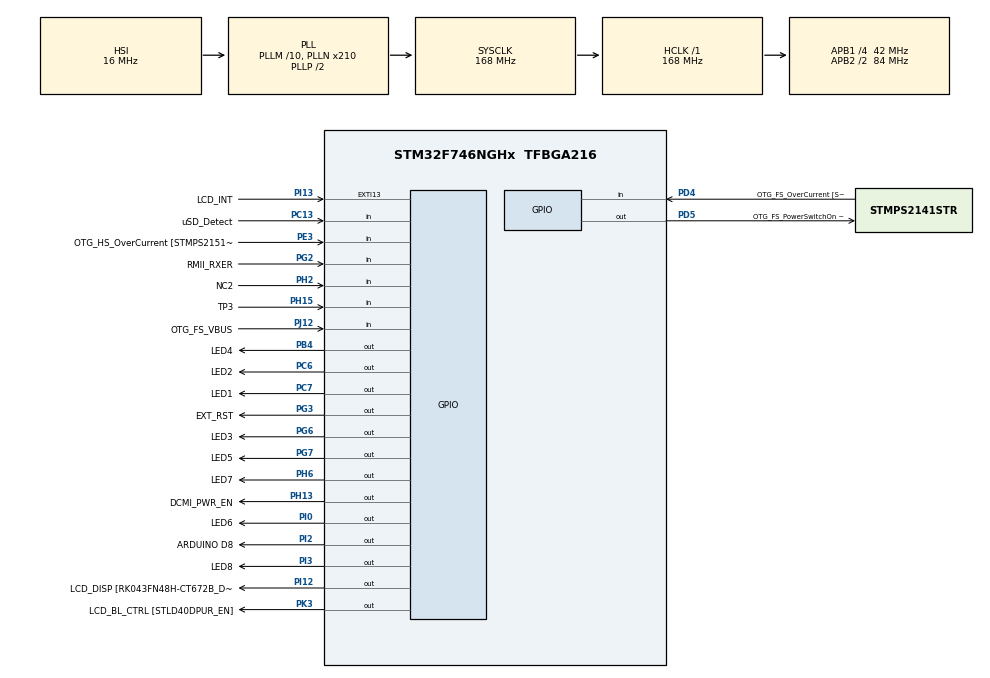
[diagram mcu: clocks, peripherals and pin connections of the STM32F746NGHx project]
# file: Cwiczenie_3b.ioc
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Mcu.Family=STM32F7
Mcu.Name=STM32F746NGHx
Mcu.Package=TFBGA216
NVIC.PriorityGroup=NVIC_PRIORITYGROUP_4
PA0/WKUP.GPIO_Label=ARDUINO A0
PA0/WKUP.GPIO_Mode=GPIO_MODE_ANALOG
PA0/WKUP.GPIO_PuPd=GPIO_NOPULL
PA0/WKUP.Signal=ADCx_IN0
PA1.GPIO_Label=RMII_REF_CLK [LAN8742A-CZ-TR_REFCLK0]
PA1.Signal=ETH_REF_CLK
PA10.GPIO_Label=OTG_FS_ID
PA10.Signal=USB_OTG_FS_ID
PA11.GPIO_Label=OTG_FS_N
PA11.Signal=USB_OTG_FS_DM
PA12.GPIO_Label=OTG_FS_P
PA12.Signal=USB_OTG_FS_DP
PA13.GPIO_Label=SWDIO
PA13.Signal=SYS_JTMS-SWDIO
PA14.GPIO_Label=SWCLK
PA14.Signal=SYS_JTCK-SWCLK
PA15.GPIO_Label=ARDUINO PWM/D9
PA15.GPIO_ModeDefaultPP=GPIO_MODE_AF_PP
PA15.GPIO_PuPd=GPIO_NOPULL
PA15.GPIO_Speed=GPIO_SPEED_FREQ_LOW
PA15.Signal=S_TIM2_CH1_ETR
PA2.GPIO_Label=RMII_MDIO [LAN8742A-CZ-TR_MDIO]
PA2.Signal=ETH_MDIO
PA3.GPIO_Label=ULPI_D0 [USB3320C-EZK_D0]
PA3.Signal=USB_OTG_HS_ULPI_D0
PA4.GPIO_Label=DCMI_HSYNC
PA4.Signal=DCMI_HSYNC
PA5.GPIO_Label=ULPI_CLK [USB3320C-EZK_CLKOUT]
PA5.Signal=USB_OTG_HS_ULPI_CK
PA6.Signal=DCMI_PIXCLK
PA7.GPIO_Label=RMII_CRS_DV [LAN8742A-CZ-TR_CRS_DV]
PA7.Signal=ETH_CRS_DV
PA8.GPIO_Label=ARDUINO PWM/D10
PA8.GPIO_ModeDefaultPP=GPIO_MODE_AF_PP
PA8.GPIO_PuPd=GPIO_NOPULL
PA8.GPIO_Speed=GPIO_SPEED_FREQ_LOW
PA8.Signal=S_TIM1_CH1
PA9.GPIO_Label=VCP_TX [STM32F103CBT6_PA3]
PA9.GPIO_Mode=GPIO_MODE_AF_PP
PA9.GPIO_PuPd=GPIO_NOPULL
PA9.GPIO_Speed=GPIO_SPEED_FREQ_LOW
PA9.Signal=USART1_TX
PB0.GPIO_Label=ULPI_D1 [USB3320C-EZK_D1]
PB0.Signal=USB_OTG_HS_ULPI_D1
PB1.GPIO_Label=ULPI_D2 [USB3320C-EZK_D2]
PB1.Signal=USB_OTG_HS_ULPI_D2
PB10.GPIO_Label=ULPI_D3 [USB3320C-EZK_D3]
PB10.Signal=USB_OTG_HS_ULPI_D3
PB11.GPIO_Label=ULPI_D4 [USB3320C-EZK_D4]
PB11.Signal=USB_OTG_HS_ULPI_D4
PB12.GPIO_Label=ULPI_D5 [USB3320C-EZK_D5]
PB12.Signal=USB_OTG_HS_ULPI_D5
PB13.GPIO_Label=ULPI_D6 [USB3320C-EZK_D6]
PB13.Signal=USB_OTG_HS_ULPI_D6
PB14.GPIO_Label=ARDUINO MISO/D12
PB14.GPIO_Mode=GPIO_MODE_AF_PP
PB14.GPIO_PuPd=GPIO_NOPULL
PB14.GPIO_Speed=GPIO_SPEED_FREQ_LOW
PB14.Signal=SPI2_MISO
PB15.GPIO_Label=ARDUINO MOSI/PWM/D11
PB15.GPIO_Mode=GPIO_MODE_AF_PP
PB15.GPIO_PuPd=GPIO_NOPULL
PB15.GPIO_Speed=GPIO_SPEED_FREQ_LOW
PB15.Signal=SPI2_MOSI
PB2.Signal=QUADSPI_CLK
PB3.GPIO_Label=SWO
PB3.Signal=SYS_JTDO-SWO
PB4.GPIO_Label=LED4
PB4.Signal=GPIO_Output
PB5.GPIO_Label=ULPI_D7 [USB3320C-EZK_D7]
PB5.Signal=USB_OTG_HS_ULPI_D7
PB6.GPIO_Label=QSPI_NCS [N25Q128A13EF840E_S]
PB6.Signal=QUADSPI_BK1_NCS
PB7.GPIO_Label=VCP_RX [STM32F103CBT6_PA2]
PB7.GPIO_Mode=GPIO_MODE_AF_PP
PB7.GPIO_PuPd=GPIO_NOPULL
PB7.GPIO_Speed=GPIO_SPEED_FREQ_LOW
PB7.Signal=USART1_RX
PB8.GPIO_Label=ARDUINO SCL/D15
PB8.GPIO_Mode=GPIO_MODE_AF_OD
PB8.GPIO_PuPd=GPIO_NOPULL
PB8.GPIO_Speed=GPIO_SPEED_FREQ_LOW
PB8.Signal=I2C1_SCL
PB9.GPIO_Label=ARDUINO SDA/D14
PB9.GPIO_Mode=GPIO_MODE_AF_OD
PB9.GPIO_PuPd=GPIO_NOPULL
PB9.GPIO_Speed=GPIO_SPEED_FREQ_LOW
PB9.Signal=I2C1_SDA
PC0.GPIO_Label=ULPI_STP [USB3320C-EZK_STP]
PC0.Signal=USB_OTG_HS_ULPI_STP
PC1.GPIO_Label=RMII_MDC [LAN8742A-CZ-TR_MDC]
PC1.Signal=ETH_MDC
PC10.GPIO_Label=SDMMC_D2
PC10.Signal=SDMMC1_D2
PC11.GPIO_Label=SDMMC_D3
PC11.Signal=SDMMC1_D3
PC12.GPIO_Label=SDMMC_CK
PC12.Signal=SDMMC1_CK
PC13.GPIO_Label=uSD_Detect
PC13.Signal=GPIO_Input
PC14/OSC32_IN.GPIO_Label=RCC_OSC32_IN
PC14/OSC32_IN.Signal=RCC_OSC32_IN
PC15/OSC32_OUT.GPIO_Label=RCC_OSC32_OUT
PC15/OSC32_OUT.Signal=RCC_OSC32_OUT
PC2.GPIO_Label=ULPI_DIR [USB3320C-EZK_DIR]
PC2.Signal=USB_OTG_HS_ULPI_DIR
PC3.GPIO_Label=FMC_SDCKE0 [MT48LC4M32B2B5-6A_CKE]
PC3.Signal=FMC_SDCKE0
PC4.GPIO_Label=RMII_RXD0 [LAN8742A-CZ-TR_RXD0]
PC4.Signal=ETH_RXD0
PC5.GPIO_Label=RMII_RXD1 [LAN8742A-CZ-TR_RXD1]
PC5.Signal=ETH_RXD1
PC6.GPIO_Label=LED2
PC6.Signal=GPIO_Output
PC7.GPIO_Label=LED1
PC7.Signal=GPIO_Output
PC8.Signal=SDMMC1_D0
PC9.Signal=SDMMC1_D1
PD0.GPIO_Label=FMC_D2 [MT48LC4M32B2B5-6A_DQ2]
PD0.Signal=FMC_D2_DA2
PD1.GPIO_Label=FMC_D3 [MT48LC4M32B2B5-6A_DQ3]
PD1.Signal=FMC_D3_DA3
PD10.GPIO_Label=FMC_D15 [MT48LC4M32B2B5-6A_DQ15]
PD10.Signal=FMC_D15_DA15
PD11.GPIO_Label=QSPI_D0 [N25Q128A13EF840E_DQ0]
PD11.Signal=QUADSPI_BK1_IO0
PD12.GPIO_Label=QSPI_D1 [N25Q128A13EF840E_DQ1]
PD12.Signal=QUADSPI_BK1_IO1
PD13.GPIO_Label=QSPI_D3 [N25Q128A13EF840E_DQ3]
PD13.Signal=QUADSPI_BK1_IO3
PD14.GPIO_Label=FMC_D0 [MT48LC4M32B2B5-6A_DQ0]
PD14.Signal=FMC_D0_DA0
PD15.GPIO_Label=FMC_D1 [MT48LC4M32B2B5-6A_DQ1]
PD15.Signal=FMC_D1_DA1
PD2.GPIO_Label=SDMMC_D0
PD2.Signal=SDMMC1_CMD
PD3.GPIO_Label=DCMI_D5
PD3.Signal=DCMI_D5
PD4.GPIO_Label=OTG_FS_OverCurrent [STMPS2141STR_Fault]
PD4.Signal=GPIO_Input
PD5.GPIO_Label=OTG_FS_PowerSwitchOn [STMPS2141STR_EN]
PD5.PinState=GPIO_PIN_SET
PD5.Signal=GPIO_Output
PD7.GPIO_Label=SPDIF_RX0 [74LVC1G04SE_4]
PD7.Signal=SPDIFRX_IN0
PD8.GPIO_Label=FMC_D13 [MT48LC4M32B2B5-6A_DQ13]
PD8.Signal=FMC_D13_DA13
PD9.GPIO_Label=FMC_D14 [MT48LC4M32B2B5-6A_DQ14]
PD9.Signal=FMC_D14_DA14
PE0.GPIO_Label=FMC_NBL0 [MT48LC4M32B2B5-6A_DQM0]
PE0.Signal=FMC_NBL0
PE1.GPIO_Label=FMC_NBL1 [MT48LC4M32B2B5-6A_DQM1]
PE1.Signal=FMC_NBL1
PE10.GPIO_Label=FMC_D7 [MT48LC4M32B2B5-6A_DQ7]
PE10.Signal=FMC_D7_DA7
PE11.GPIO_Label=FMC_D8 [MT48LC4M32B2B5-6A_DQ8]
PE11.Signal=FMC_D8_DA8
PE12.GPIO_Label=FMC_D9 [MT48LC4M32B2B5-6A_DQ9]
PE12.Signal=FMC_D9_DA9
PE13.GPIO_Label=FMC_D10 [MT48LC4M32B2B5-6A_DQ10]
PE13.Signal=FMC_D10_DA10
PE14.GPIO_Label=FMC_D11 [MT48LC4M32B2B5-6A_DQ11]
PE14.Signal=FMC_D11_DA11
PE15.GPIO_Label=FMC_D12 [MT48LC4M32B2B5-6A_DQ12]
PE15.Signal=FMC_D12_DA12
PE2.GPIO_Label=QSPI_D2 [N25Q128A13EF840E_DQ2]
PE2.Signal=QUADSPI_BK1_IO2
PE3.GPIO_Label=OTG_HS_OverCurrent [STMPS2151STR_FAULT]
PE3.Signal=GPIO_Input
PE4.GPIO_Label=LCD_B0 [RK043FN48H-CT672B_B0]
PE4.Signal=LTDC_B0
PE5.GPIO_Label=DCMI_D6
PE5.Signal=DCMI_D6
PE6.GPIO_Label=DCMI_D7
PE6.Signal=DCMI_D7
PE7.GPIO_Label=FMC_D4 [MT48LC4M32B2B5-6A_DQ4]
PE7.Signal=FMC_D4_DA4
PE8.GPIO_Label=FMC_D5 [MT48LC4M32B2B5-6A_DQ5]
PE8.Signal=FMC_D5_DA5
PE9.GPIO_Label=FMC_D6 [MT48LC4M32B2B5-6A_DQ6]
PE9.Signal=FMC_D6_DA6
PF0.GPIO_Label=FMC_A0 [MT48LC4M32B2B5-6A_A0]
PF0.Signal=FMC_A0
PF1.GPIO_Label=FMC_A1 [MT48LC4M32B2B5-6A_A1]
PF1.Signal=FMC_A1
PF10.GPIO_Label=ARDUINO A1
PF10.GPIO_Mode=GPIO_MODE_ANALOG
PF10.GPIO_PuPd=GPIO_NOPULL
PF10.Signal=ADC3_IN8
PF11.GPIO_Label=FMC_SDNRAS [MT48LC4M32B2B5-6A_RAS]
PF11.Signal=FMC_SDNRAS
PF12.GPIO_Label=FMC_A6 [MT48LC4M32B2B5-6A_A6]
PF12.Signal=FMC_A6
PF13.GPIO_Label=FMC_A7 [MT48LC4M32B2B5-6A_A7]
PF13.Signal=FMC_A7
PF14.GPIO_Label=FMC_A8 [MT48LC4M32B2B5-6A_A8]
PF14.Signal=FMC_A8
PF15.GPIO_Label=FMC_A9 [MT48LC4M32B2B5-6A_A9]
PF15.Signal=FMC_A9
PF2.GPIO_Label=FMC_A2 [MT48LC4M32B2B5-6A_A2]
PF2.Signal=FMC_A2
PF3.GPIO_Label=FMC_A3 [MT48LC4M32B2B5-6A_A3]
PF3.Signal=FMC_A3
PF4.GPIO_Label=FMC_A4 [MT48LC4M32B2B5-6A_A4]
PF4.Signal=FMC_A4
PF5.GPIO_Label=FMC_A5 [MT48LC4M32B2B5-6A_A5]
PF5.Signal=FMC_A5
PF6.GPIO_Label=ARDUINO A5
PF6.GPIO_Mode=GPIO_MODE_ANALOG
PF6.GPIO_PuPd=GPIO_NOPULL
PF6.Signal=ADC3_IN4
PF7.GPIO_Label=ARDUINO A4
PF7.GPIO_Mode=GPIO_MODE_ANALOG
PF7.GPIO_PuPd=GPIO_NOPULL
PF7.Signal=ADC3_IN5
PF8.GPIO_Label=ARDUINO A3
PF8.GPIO_Mode=GPIO_MODE_ANALOG
PF8.GPIO_PuPd=GPIO_NOPULL
PF8.Signal=ADC3_IN6
PF9.GPIO_Label=ARDUINO A2
PF9.GPIO_Mode=GPIO_MODE_ANALOG
PF9.GPIO_PuPd=GPIO_NOPULL
PF9.Signal=ADC3_IN7
PG0.GPIO_Label=FMC_A10 [MT48LC4M32B2B5-6A_A10]
PG0.Signal=FMC_A10
PG1.GPIO_Label=FMC_A11 [MT48LC4M32B2B5-6A_A11]
PG1.Signal=FMC_A11
PG10.GPIO_Label=SAI2_SDB [WM8994ECS/R_ADCDAT1]
PG10.Signal=SAI2_SD_B
PG11.GPIO_Label=RMII_TX_EN [LAN8742A-CZ-TR_TXEN]
PG11.Signal=ETH_TX_EN
PG12.GPIO_Label=LCD_B4 [RK043FN48H-CT672B_B4]
PG12.Signal=LTDC_B4
PG13.GPIO_Label=RMII_TXD0 [LAN8742A-CZ-TR_TXD0]
PG13.Signal=ETH_TXD0
PG14.GPIO_Label=RMII_TXD1 [LAN8742A-CZ-TR_TXD1]
PG14.Signal=ETH_TXD1
PG15.GPIO_Label=FMC_SDNCAS [MT48LC4M32B2B5-6A_CAS]
PG15.Signal=FMC_SDNCAS
PG2.GPIO_Label=RMII_RXER
PG2.Signal=GPIO_Input
PG3.GPIO_Label=EXT_RST
PG3.Signal=GPIO_Output
PG4.GPIO_Label=FMC_BA0 [MT48LC4M32B2B5-6A_BA0]
PG4.Signal=FMC_A14_BA0
PG5.GPIO_Label=FMC_BA1 [MT48LC4M32B2B5-6A_BA1]
PG5.Signal=FMC_A15_BA1
PG6.GPIO_Label=LED3
PG6.Signal=GPIO_Output
PG7.GPIO_Label=LED5
PG7.Signal=GPIO_Output
PG8.GPIO_Label=FMC_SDCLK [MT48LC4M32B2B5-6A_CLK]
PG8.Signal=FMC_SDCLK
PG9.GPIO_Label=DCMI_VSYNC
PG9.Signal=DCMI_VSYNC
PH0/OSC_IN.GPIO_Label=OSC_25M [NZ2520SB-25.00M_OUT]
PH0/OSC_IN.Signal=RCC_OSC_IN
PH1/OSC_OUT.Signal=RCC_OSC_OUT
PH10.GPIO_Label=DCMI_D1
PH10.Signal=DCMI_D1
PH11.GPIO_Label=DCMI_D2
PH11.Signal=DCMI_D2
PH12.GPIO_Label=DCMI_D3
PH12.Signal=DCMI_D3
PH13.GPIO_Label=DCMI_PWR_EN
PH13.Signal=GPIO_Output
PH14.GPIO_Label=DCMI_D4
PH14.Signal=DCMI_D4
PH15.GPIO_Label=TP3
PH15.Signal=GPIO_Input
PH2.GPIO_Label=NC2
PH2.Signal=GPIO_Input
PH3.GPIO_Label=FMC_SDNE0 [MT48LC4M32B2B5-6A_CS]
PH3.Signal=FMC_SDNE0
PH4.GPIO_Label=ULPI_NXT [USB3320C-EZK_NXT]
PH4.Signal=USB_OTG_HS_ULPI_NXT
PH5.GPIO_Label=FMC_SDNME [MT48LC4M32B2B5-6A_WE]
PH5.Signal=FMC_SDNWE
PH6.GPIO_Label=LED7
PH6.Signal=GPIO_Output
PH7.GPIO_Label=LCD_SCL [RK043FN48H-CT672B_SCL]
PH7.Signal=I2C3_SCL
PH8.GPIO_Label=LCD_SDA [RK043FN48H-CT672B_SDA]
PH8.Signal=I2C3_SDA
PH9.GPIO_Label=DCMI_D0
PH9.Signal=DCMI_D0
PI0.GPIO_Label=LED6
PI0.Signal=GPIO_Output
PI1.GPIO_Label=ARDUINO SCK/D13
PI1.GPIO_Mode=GPIO_MODE_AF_PP
PI1.GPIO_PuPd=GPIO_NOPULL
PI1.GPIO_Speed=GPIO_SPEED_FREQ_LOW
PI1.Signal=SPI2_SCK
PI10.GPIO_Label=LCD_HSYNC [RK043FN48H-CT672B_HSYNC]
PI10.Signal=LTDC_HSYNC
PI12.GPIO_Label=LCD_DISP [RK043FN48H-CT672B_DISP] 
PI12.Signal=GPIO_Output
PI13.GPIO_Label=LCD_INT
PI13.GPIO_ModeDefaultEXTI=GPIO_MODE_EVT_RISING
PI13.Signal=GPXTI13
PI14.GPIO_Label=LCD_CLK [RK043FN48H-CT672B_CLK]
PI14.Signal=LTDC_CLK
PI15.GPIO_Label=LCD_R0 [RK043FN48H-CT672B_R0]
PI15.Signal=LTDC_R0
PI2.GPIO_Label=ARDUINO D8
PI2.Signal=GPIO_Output
PI3.GPIO_Label=LED8
PI3.Signal=GPIO_Output
PI4.GPIO_Label=SAI2_MCLKA [WM8994ECS/R_MCLK1]
PI4.Signal=SAI2_MCLK_A
PI5.GPIO_Label=SAI2_SCKA [WM8994ECS/R_BCLK1]
PI5.Signal=SAI2_SCK_A
PI6.GPIO_Label=SAI2_SDA [WM8994ECS/R_DACDAT1]
PI6.Signal=SAI2_SD_A
PI7.GPIO_Label=SAI2_FSA [WM8994ECS/R_LRCLK1]
PI7.Signal=SAI2_FS_A
PI8.GPIO_Label=NC1 [TP2]
PI8.Signal=RTC_TS
PI9.GPIO_Label=LCD_VSYNC [RK043FN48H-CT672B_VSYNC]
PI9.Signal=LTDC_VSYNC
PJ0.GPIO_Label=LCD_R1 [RK043FN48H-CT672B_R1]
PJ0.Signal=LTDC_R1
PJ1.GPIO_Label=LCD_R2 [RK043FN48H-CT672B_R2]
PJ1.Signal=LTDC_R2
PJ10.GPIO_Label=LCD_G3 [RK043FN48H-CT672B_G3]
PJ10.Signal=LTDC_G3
PJ11.GPIO_Label=LCD_G4 [RK043FN48H-CT672B_G4]
PJ11.Signal=LTDC_G4
PJ12.GPIO_Label=OTG_FS_VBUS
PJ12.Signal=GPIO_Input
PJ13.GPIO_Label=LCD_B1 [RK043FN48H-CT672B_B1]
PJ13.Signal=LTDC_B1
PJ14.GPIO_Label=LCD_B2 [RK043FN48H-CT672B_B2]
PJ14.Signal=LTDC_B2
PJ15.GPIO_Label=LCD_B3 [RK043FN48H-CT672B_B3]
PJ15.Signal=LTDC_B3
PJ2.GPIO_Label=LCD_R3 [RK043FN48H-CT672B_R3]
PJ2.Signal=LTDC_R3
PJ3.GPIO_Label=LCD_R4 [RK043FN48H-CT672B_R4]
PJ3.Signal=LTDC_R4
PJ4.GPIO_Label=LCD_R5 [RK043FN48H-CT672B_R5]
PJ4.Signal=LTDC_R5
PJ5.GPIO_Label=LCD_R6 [RK043FN48H-CT672B_R6]
PJ5.Signal=LTDC_R6
PJ6.GPIO_Label=LCD_R7 [RK043FN48H-CT672B_R7]
PJ6.Signal=LTDC_R7
PJ7.GPIO_Label=LCD_G0 [RK043FN48H-CT672B_G0]
PJ7.Signal=LTDC_G0
PJ8.GPIO_Label=LCD_G1 [RK043FN48H-CT672B_G1]
PJ8.Signal=LTDC_G1
PJ9.GPIO_Label=LCD_G2 [RK043FN48H-CT672B_G2]
PJ9.Signal=LTDC_G2
PK0.GPIO_Label=LCD_G5 [RK043FN48H-CT672B_G5]
PK0.Signal=LTDC_G5
PK1.GPIO_Label=LCD_G6 [RK043FN48H-CT672B_G6]
PK1.Signal=LTDC_G6
PK2.GPIO_Label=LCD_G7 [RK043FN48H-CT672B_G7]
PK2.Signal=LTDC_G7
PK3.GPIO_Label=LCD_BL_CTRL [STLD40DPUR_EN]
PK3.Signal=GPIO_Output
PK4.GPIO_Label=LCD_B5 [RK043FN48H-CT672B_B5]
PK4.Signal=LTDC_B5
PK5.GPIO_Label=LCD_B6 [RK043FN48H-CT672B_B6]
PK5.Signal=LTDC_B6
PK6.GPIO_Label=LCD_B7 [RK043FN48H-CT672B_B7]
PK6.Signal=LTDC_B7
PK7.GPIO_Label=LCD_DE [RK043FN48H-CT672B_DE]
PK7.Signal=LTDC_DE
ProjectManager.HeapSize=0x200
ProjectManager.StackSize=0x400
ProjectManager.TargetToolchain=STM32CubeIDE
RCC.AHBFreq_Value=168000000
RCC.APB1CLKDivider=RCC_HCLK_DIV4
RCC.APB1Freq_Value=42000000
RCC.APB1TimFreq_Value=84000000
RCC.APB2CLKDivider=RCC_HCLK_DIV2
RCC.APB2Freq_Value=84000000
RCC.APB2TimFreq_Value=168000000
RCC.CortexFreq_Value=168000000
RCC.HCLKFreq_Value=168000000
RCC.HSE_VALUE=25000000
RCC.HSI_VALUE=16000000
RCC.LSE_VALUE=32768
RCC.PLLM=10
RCC.PLLN=210
RCC.PLLSourceVirtual=RCC_PLLSOURCE_HSI
RCC.SYSCLKFreq_VALUE=168000000
RCC.SYSCLKSource=RCC_SYSCLKSOURCE_PLLCLK
RCC.USBFreq_Value=168000000
RCC.VCOOutputFreq_Value=336000000
SH.ADCx_IN0.0=ADC3_IN0
SH.FMC_A0.0=FMC_A0
SH.FMC_A1.0=FMC_A1
SH.FMC_A10.0=FMC_A10
SH.FMC_A11.0=FMC_A11
SH.FMC_A14_BA0.0=FMC_BA0
SH.FMC_A15_BA1.0=FMC_BA1
SH.FMC_A2.0=FMC_A2
SH.FMC_A3.0=FMC_A3
SH.FMC_A4.0=FMC_A4
SH.FMC_A5.0=FMC_A5
SH.FMC_A6.0=FMC_A6
SH.FMC_A7.0=FMC_A7
SH.FMC_A8.0=FMC_A8
SH.FMC_A9.0=FMC_A9
SH.FMC_D0_DA0.0=FMC_D0
SH.FMC_D10_DA10.0=FMC_D10
SH.FMC_D11_DA11.0=FMC_D11
SH.FMC_D12_DA12.0=FMC_D12
SH.FMC_D13_DA13.0=FMC_D13
SH.FMC_D14_DA14.0=FMC_D14
SH.FMC_D15_DA15.0=FMC_D15
SH.FMC_D1_DA1.0=FMC_D1
SH.FMC_D2_DA2.0=FMC_D2
SH.FMC_D3_DA3.0=FMC_D3
SH.FMC_D4_DA4.0=FMC_D4
SH.FMC_D5_DA5.0=FMC_D5
SH.FMC_D6_DA6.0=FMC_D6
SH.FMC_D7_DA7.0=FMC_D7
SH.FMC_D8_DA8.0=FMC_D8
SH.FMC_D9_DA9.0=FMC_D9
SH.FMC_NBL0.0=FMC_NBL0
SH.FMC_NBL1.0=FMC_NBL1
SH.FMC_SDCLK.0=FMC_SDCLK
SH.FMC_SDNCAS.0=FMC_SDNCAS
SH.FMC_SDNRAS.0=FMC_SDNRAS
SH.FMC_SDNWE.0=FMC_SDNWE
SH.S_TIM1_CH1.0=TIM1_CH1
SH.S_TIM2_CH1_ETR.0=TIM2_CH1
board=STM32F746G-DISCO

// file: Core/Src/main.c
/* USER CODE BEGIN Header */
/**
  ******************************************************************************
  * @file           : main.c
  * @brief          : Main program body
  ******************************************************************************
  * @attention
  *
  * Copyright (c) 2022 STMicroelectronics.
  * All rights reserved.
  *
  * This software is licensed under terms that can be found in the LICENSE file
  * in the root directory of this software component.
  * If no LICENSE file comes with this software, it is provided AS-IS.
  *
  ******************************************************************************
  */
/* USER CODE END Header */
#include "main.h"
#include "gpio.h"

/* USER CODE BEGIN Includes */
#include "stdbool.h"

/* USER CODE END Includes */

/* USER CODE BEGIN PV */
typedef struct {
	GPIO_TypeDef* port;
	uint16_t pin;
}pin_t;

static const pin_t LED[] = {
		{ LED1_GPIO_Port, LED1_Pin },
		{ LED2_GPIO_Port, LED2_Pin },
		{ LED3_GPIO_Port, LED3_Pin },
		{ LED4_GPIO_Port, LED4_Pin },
		{ LED5_GPIO_Port, LED5_Pin },
		{ LED6_GPIO_Port, LED6_Pin },
		{ LED7_GPIO_Port, LED7_Pin },
		{ LED8_GPIO_Port, LED8_Pin },
};

uint8_t pozycja_diody = 0;
bool kierunek_w_prawo = true;
/* USER CODE END PV */

void SystemClock_Config(void);
/* USER CODE BEGIN PFP */
void led_set(int led, bool turn_on);
/* USER CODE END PFP */

int main(void)
{

  /* MCU Configuration--------------------------------------------------------*/

  /* Reset of all peripherals, Initializes the Flash interface and the Systick. */
  HAL_Init();

  /* Configure the system clock */
  SystemClock_Config();

  /* Initialize all configured peripherals */
  MX_GPIO_Init();

  /* Infinite loop */
  while (1)
  {

    /* USER CODE BEGIN 3 */
		led_set(pozycja_diody, true);
		HAL_Delay(250);
		led_set(pozycja_diody, false);
		(kierunek_w_prawo) ? pozycja_diody++ : pozycja_diody--;
		if (pozycja_diody == 7 || pozycja_diody == 0)
			kierunek_w_prawo = !kierunek_w_prawo;
//	  for (int i = 0; i < 8; i++) {
//	      led_set(i, true);
//	      HAL_Delay(250);
//	      led_set(i, false);
//	  }
//	  for (int i = 7; i >= 0; i--) {
//	  	      led_set(i, true);
//	  	      HAL_Delay(250);
//	  	      led_set(i, false);
//	  }
  }
  /* USER CODE END 3 */
}

void SystemClock_Config(void)
{
  RCC_OscInitTypeDef RCC_OscInitStruct = {0};
  RCC_ClkInitTypeDef RCC_ClkInitStruct = {0};

  /** Configure the main internal regulator output voltage
  */
  __HAL_RCC_PWR_CLK_ENABLE();
  __HAL_PWR_VOLTAGESCALING_CONFIG(PWR_REGULATOR_VOLTAGE_SCALE2);

  /** Initializes the RCC Oscillators according to the specified parameters
  * in the RCC_OscInitTypeDef structure.
  */
  RCC_OscInitStruct.OscillatorType = RCC_OSCILLATORTYPE_HSI;
  RCC_OscInitStruct.HSIState = RCC_HSI_ON;
  RCC_OscInitStruct.HSICalibrationValue = RCC_HSICALIBRATION_DEFAULT;
  RCC_OscInitStruct.PLL.PLLState = RCC_PLL_ON;
  RCC_OscInitStruct.PLL.PLLSource = RCC_PLLSOURCE_HSI;
  RCC_OscInitStruct.PLL.PLLM = 10;
  RCC_OscInitStruct.PLL.PLLN = 210;
  RCC_OscInitStruct.PLL.PLLP = RCC_PLLP_DIV2;
  RCC_OscInitStruct.PLL.PLLQ = 2;
  if (HAL_RCC_OscConfig(&RCC_OscInitStruct) != HAL_OK)
  {
    Error_Handler();
  }

  /** Initializes the CPU, AHB and APB buses clocks
  */
  RCC_ClkInitStruct.ClockType = RCC_CLOCKTYPE_HCLK|RCC_CLOCKTYPE_SYSCLK
                              |RCC_CLOCKTYPE_PCLK1|RCC_CLOCKTYPE_PCLK2;
  RCC_ClkInitStruct.SYSCLKSource = RCC_SYSCLKSOURCE_PLLCLK;
  RCC_ClkInitStruct.AHBCLKDivider = RCC_SYSCLK_DIV1;
  RCC_ClkInitStruct.APB1CLKDivider = RCC_HCLK_DIV4;
  RCC_ClkInitStruct.APB2CLKDivider = RCC_HCLK_DIV2;

  if (HAL_RCC_ClockConfig(&RCC_ClkInitStruct, FLASH_LATENCY_5) != HAL_OK)
  {
    Error_Handler();
  }
}

/* USER CODE BEGIN 4 */
void led_set(int led, bool turn_on)
{
	GPIO_PinState state = (turn_on) ? GPIO_PIN_SET : GPIO_PIN_RESET;

	if (led >= 0 && led < 8) {
		HAL_GPIO_WritePin(LED[led].port, LED[led].pin, state);
        }
}
/* USER CODE END 4 */

void Error_Handler(void)
{
  __disable_irq();
  while (1)
  {
  }
}
